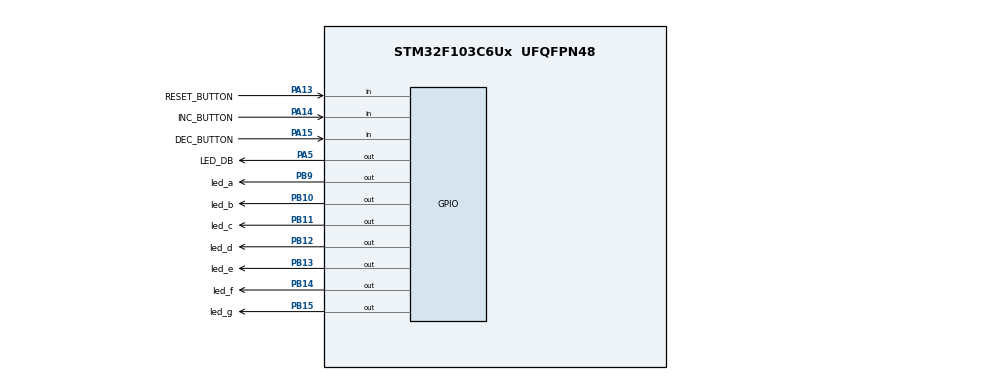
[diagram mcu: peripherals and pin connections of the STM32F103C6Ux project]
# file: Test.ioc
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Mcu.Family=STM32F1
Mcu.Name=STM32F103C6Ux
Mcu.Package=UFQFPN48
NVIC.PriorityGroup=NVIC_PRIORITYGROUP_4
NVIC.TIM2_IRQn=true\:0\:0\:false\:false\:true\:true\:true\:true
PA13.GPIO_Label=RESET_BUTTON
PA13.GPIO_PuPd=GPIO_PULLUP
PA13.Signal=GPIO_Input
PA14.GPIO_Label=INC_BUTTON
PA14.GPIO_PuPd=GPIO_PULLUP
PA14.Signal=GPIO_Input
PA15.GPIO_Label=DEC_BUTTON
PA15.GPIO_PuPd=GPIO_PULLUP
PA15.Signal=GPIO_Input
PA5.GPIO_Label=LED_DB
PA5.Signal=GPIO_Output
PB10.GPIO_Label=led_b
PB10.Signal=GPIO_Output
PB11.GPIO_Label=led_c
PB11.Signal=GPIO_Output
PB12.GPIO_Label=led_d
PB12.Signal=GPIO_Output
PB13.GPIO_Label=led_e
PB13.Signal=GPIO_Output
PB14.GPIO_Label=led_f
PB14.Signal=GPIO_Output
PB15.GPIO_Label=led_g
PB15.Signal=GPIO_Output
PB9.GPIO_Label=led_a
PB9.Signal=GPIO_Output
ProjectManager.HeapSize=0x200
ProjectManager.StackSize=0x400
ProjectManager.TargetToolchain=STM32CubeIDE
RCC.APB1Freq_Value=8000000
RCC.APB2Freq_Value=8000000
TIM2.Period=9
TIM2.Prescaler=7999
VP_TIM2_VS_ClockSourceINT.Mode=Internal
board=custom

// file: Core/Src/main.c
/* USER CODE BEGIN Header */
/**
  ******************************************************************************
  * @file           : main.c
  * @brief          : Main program body
  ******************************************************************************
  * @attention
  *
  * Copyright (c) 2022 STMicroelectronics.
  * All rights reserved.
  *
  * This software is licensed under terms that can be found in the LICENSE file
  * in the root directory of this software component.
  * If no LICENSE file comes with this software, it is provided AS-IS.
  *
  ******************************************************************************
  */
/* USER CODE END Header */
#include "main.h"

/* USER CODE BEGIN Includes */
#include "global.h"
#include "input_reading.h"
#include "software_timer.h"
#include "led_display.h"
#include "fsm_button_normal.h"
#include "fsm_button_longpress.h"
#include "fsm_countdown.h"

/* USER CODE END Includes */

TIM_HandleTypeDef htim2;

void SystemClock_Config(void);
static void MX_GPIO_Init(void);
static void MX_TIM2_Init(void);

int main(void)
{

  /* MCU Configuration--------------------------------------------------------*/

  /* Reset of all peripherals, Initializes the Flash interface and the Systick. */
  HAL_Init();

  /* Configure the system clock */
  SystemClock_Config();

  /* Initialize all configured peripherals */
  MX_GPIO_Init();
  MX_TIM2_Init();
  /* USER CODE BEGIN 2 */
  HAL_TIM_Base_Start_IT(&htim2);
  /* USER CODE END 2 */

  /* Infinite loop */
  /* USER CODE BEGIN WHILE */
  status = RESET_STATE;
  setTimer1(10);
  setTimer2(TIME_OUT);
  while (1)
  {

	  if (timer1_flag == 1){
		  setTimer1(1000);
		  HAL_GPIO_TogglePin(LED_DB_GPIO_Port, LED_DB_Pin);
	  }
	  fsm_button_normal_run();
	  fsm_button_longpress_run();
	  fsm_countdown_run();

    /* USER CODE END WHILE */

  }
}

void SystemClock_Config(void)
{
  RCC_OscInitTypeDef RCC_OscInitStruct = {0};
  RCC_ClkInitTypeDef RCC_ClkInitStruct = {0};

  /** Initializes the RCC Oscillators according to the specified parameters
  * in the RCC_OscInitTypeDef structure.
  */
  RCC_OscInitStruct.OscillatorType = RCC_OSCILLATORTYPE_HSI;
  RCC_OscInitStruct.HSIState = RCC_HSI_ON;
  RCC_OscInitStruct.HSICalibrationValue = RCC_HSICALIBRATION_DEFAULT;
  RCC_OscInitStruct.PLL.PLLState = RCC_PLL_NONE;
  if (HAL_RCC_OscConfig(&RCC_OscInitStruct) != HAL_OK)
  {
    Error_Handler();
  }

  /** Initializes the CPU, AHB and APB buses clocks
  */
  RCC_ClkInitStruct.ClockType = RCC_CLOCKTYPE_HCLK|RCC_CLOCKTYPE_SYSCLK
                              |RCC_CLOCKTYPE_PCLK1|RCC_CLOCKTYPE_PCLK2;
  RCC_ClkInitStruct.SYSCLKSource = RCC_SYSCLKSOURCE_HSI;
  RCC_ClkInitStruct.AHBCLKDivider = RCC_SYSCLK_DIV1;
  RCC_ClkInitStruct.APB1CLKDivider = RCC_HCLK_DIV1;
  RCC_ClkInitStruct.APB2CLKDivider = RCC_HCLK_DIV1;

  if (HAL_RCC_ClockConfig(&RCC_ClkInitStruct, FLASH_LATENCY_0) != HAL_OK)
  {
    Error_Handler();
  }
}

static void MX_TIM2_Init(void)
{

  TIM_ClockConfigTypeDef sClockSourceConfig = {0};
  TIM_MasterConfigTypeDef sMasterConfig = {0};

  htim2.Instance = TIM2;
  htim2.Init.Prescaler = 7999;
  htim2.Init.CounterMode = TIM_COUNTERMODE_UP;
  htim2.Init.Period = 9;
  htim2.Init.ClockDivision = TIM_CLOCKDIVISION_DIV1;
  htim2.Init.AutoReloadPreload = TIM_AUTORELOAD_PRELOAD_DISABLE;
  if (HAL_TIM_Base_Init(&htim2) != HAL_OK)
  {
    Error_Handler();
  }
  sClockSourceConfig.ClockSource = TIM_CLOCKSOURCE_INTERNAL;
  if (HAL_TIM_ConfigClockSource(&htim2, &sClockSourceConfig) != HAL_OK)
  {
    Error_Handler();
  }
  sMasterConfig.MasterOutputTrigger = TIM_TRGO_RESET;
  sMasterConfig.MasterSlaveMode = TIM_MASTERSLAVEMODE_DISABLE;
  if (HAL_TIMEx_MasterConfigSynchronization(&htim2, &sMasterConfig) != HAL_OK)
  {
    Error_Handler();
  }

}

static void MX_GPIO_Init(void)
{
  GPIO_InitTypeDef GPIO_InitStruct = {0};

  /* GPIO Ports Clock Enable */
  __HAL_RCC_GPIOA_CLK_ENABLE();
  __HAL_RCC_GPIOB_CLK_ENABLE();

  /*Configure GPIO pin Output Level */
  HAL_GPIO_WritePin(LED_DB_GPIO_Port, LED_DB_Pin, GPIO_PIN_RESET);

  /*Configure GPIO pin Output Level */
  HAL_GPIO_WritePin(GPIOB, led_b_Pin|led_c_Pin|led_d_Pin|led_e_Pin
                          |led_f_Pin|led_g_Pin|led_a_Pin, GPIO_PIN_RESET);

  /*Configure GPIO pin : LED_DB_Pin */
  GPIO_InitStruct.Pin = LED_DB_Pin;
  GPIO_InitStruct.Mode = GPIO_MODE_OUTPUT_PP;
  GPIO_InitStruct.Pull = GPIO_NOPULL;
  GPIO_InitStruct.Speed = GPIO_SPEED_FREQ_LOW;
  HAL_GPIO_Init(LED_DB_GPIO_Port, &GPIO_InitStruct);

  /*Configure GPIO pins : led_b_Pin led_c_Pin led_d_Pin led_e_Pin
                           led_f_Pin led_g_Pin led_a_Pin */
  GPIO_InitStruct.Pin = led_b_Pin|led_c_Pin|led_d_Pin|led_e_Pin
                          |led_f_Pin|led_g_Pin|led_a_Pin;
  GPIO_InitStruct.Mode = GPIO_MODE_OUTPUT_PP;
  GPIO_InitStruct.Pull = GPIO_NOPULL;
  GPIO_InitStruct.Speed = GPIO_SPEED_FREQ_LOW;
  HAL_GPIO_Init(GPIOB, &GPIO_InitStruct);

  /*Configure GPIO pins : RESET_BUTTON_Pin INC_BUTTON_Pin DEC_BUTTON_Pin */
  GPIO_InitStruct.Pin = RESET_BUTTON_Pin|INC_BUTTON_Pin|DEC_BUTTON_Pin;
  GPIO_InitStruct.Mode = GPIO_MODE_INPUT;
  GPIO_InitStruct.Pull = GPIO_PULLUP;
  HAL_GPIO_Init(GPIOA, &GPIO_InitStruct);

}

/* USER CODE BEGIN 4 */
void HAL_TIM_PeriodElapsedCallback(TIM_HandleTypeDef *htim){
	TimerRun();
	button_read();
}
/* USER CODE END 4 */

void Error_Handler(void)
{
  __disable_irq();
  while (1)
  {
  }
}
